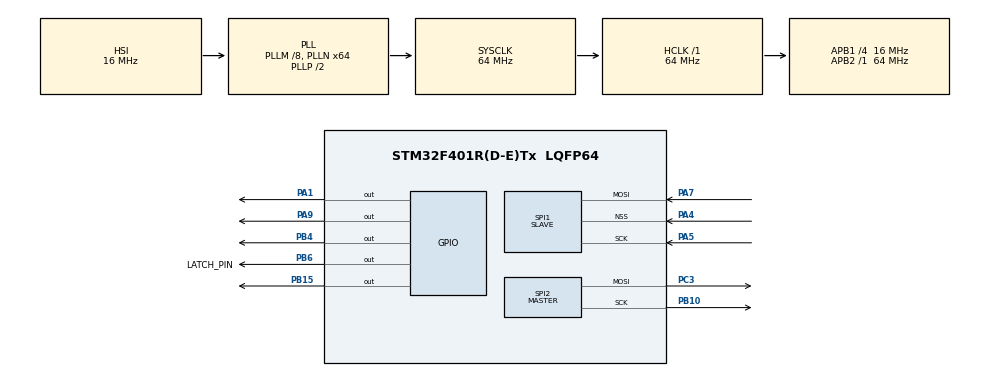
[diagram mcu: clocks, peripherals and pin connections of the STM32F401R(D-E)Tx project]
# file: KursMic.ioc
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Mcu.Family=STM32F4
PC3.Mode=TX_Only_Simplex_Unidirect_Master
PC15-OSC32_OUT.Mode=LSE-External-Oscillator
RCC.CortexFreq_Value=64000000
PA7.Mode=RX_Only_Simplex_Unidirect_Slave
SPI1.VirtualType=VM_SLAVE
SPI2.VirtualType=VM_MASTER
PB10.Mode=TX_Only_Simplex_Unidirect_Master
PA14.GPIO_Label=TCK
PH1\ -\ OSC_OUT.Mode=HSE-External-Clock-Source
PB6.GPIO_Label=LATCH_PIN
SPI1.CLKPhase=SPI_PHASE_1EDGE
RCC.APB1CLKDivider=RCC_HCLK_DIV4
SPI1.TIMode=SPI_TIMODE_DISABLE
PC14-OSC32_IN.Signal=RCC_OSC32_IN
PB15.Signal=GPIO_Output
RCC.SYSCLKSource=RCC_SYSCLKSOURCE_PLLCLK
ProjectManager.StackSize=0x400
PA13.Signal=SYS_JTMS-SWDIO
PH0\ -\ OSC_IN.Mode=HSE-External-Clock-Source
TIM1.Prescaler=839
SPI1.CLKPolarity=SPI_POLARITY_LOW
SPI2.CLKPolarity=SPI_POLARITY_LOW
PH0\ -\ OSC_IN.Signal=RCC_OSC_IN
PA4.Mode=NSS_Signal_Hard_Input
ProjectManager.TargetToolchain=STM32CubeIDE
SPI1.Direction=SPI_DIRECTION_2LINES_RXONLY
RCC.HCLKFreq_Value=64000000
RCC.APB2TimFreq_Value=64000000
PA9.Signal=GPIO_Output
PB6.Signal=GPIO_Output
PC3.Signal=SPI2_MOSI
PC15-OSC32_OUT.Signal=RCC_OSC32_OUT
PA1.Signal=GPIO_Output
RCC.AHBFreq_Value=64000000
PB10.Signal=SPI2_SCK
PA5.Signal=SPI1_SCK
RCC.HSE_VALUE=8000000
PH1\ -\ OSC_OUT.Signal=RCC_OSC_OUT
board=NUCLEO-F401RE
RCC.VCOOutputFreq_Value=128000000
RCC.APB2Freq_Value=64000000
PC14-OSC32_IN.Mode=LSE-External-Oscillator
SPI1.Mode=SPI_MODE_SLAVE
PA14.Mode=Serial_Wire
SPI1.DataSize=SPI_DATASIZE_16BIT
SPI1.VirtualNSS=VM_NSSHARD
PA13.Mode=Serial_Wire
Mcu.Name=STM32F401R(D-E)Tx
VP_TIM1_VS_ClockSourceINT.Mode=Internal
PA13.GPIO_Label=TMS
RCC.48MHZClocksFreq_Value=18285714.285714287
PB3.Signal=SYS_JTDO-SWO
PA4.Signal=SPI1_NSS
RCC.SYSCLKFreq_VALUE=64000000
Mcu.Package=LQFP64
SPI2.Mode=SPI_MODE_MASTER
SPI2.FirstBit=SPI_FIRSTBIT_LSB
PA14.Signal=SYS_JTCK-SWCLK
ProjectManager.HeapSize=0x200
RCC.HSI_VALUE=16000000
RCC.PLLQ=7
NVIC.PriorityGroup=NVIC_PRIORITYGROUP_0
RCC.PLLM=8
RCC.PLLN=64
RCC.APB1TimFreq_Value=32000000
SPI2.Direction=SPI_DIRECTION_2LINES
PB6.GPIO_Speed=GPIO_SPEED_FREQ_MEDIUM
RCC.APB1Freq_Value=16000000
PB4.Signal=GPIO_Output
PA5.Mode=RX_Only_Simplex_Unidirect_Slave
PA7.Signal=SPI1_MOSI
PB3.GPIO_Label=SWO

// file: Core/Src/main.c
/* USER CODE BEGIN Header */
/**
  ******************************************************************************
  * @file           : main.c
  * @brief          : Main program body
  ******************************************************************************
  * @attention
  *
  * <h2><center>&copy; Copyright (c) 2021 STMicroelectronics.
  * All rights reserved.</center></h2>
  *
  * This software component is licensed by ST under BSD 3-Clause license,
  * the "License"; You may not use this file except in compliance with the
  * License. You may obtain a copy of the License at:
  *                        opensource.org/licenses/BSD-3-Clause
  *
  ******************************************************************************
  */
/* USER CODE END Header */
#include "main.h"

/* USER CODE BEGIN PD */
#define LATCH GPIO_PIN_6

#define dig1_set() HAL_GPIO_WritePin(GPIOB, GPIO_PIN_4,GPIO_PIN_RESET)
#define dig2_set() HAL_GPIO_WritePin(GPIOB, GPIO_PIN_15,GPIO_PIN_RESET)
#define dig3_set() HAL_GPIO_WritePin(GPIOA, GPIO_PIN_1,GPIO_PIN_RESET)
#define dig4_set() HAL_GPIO_WritePin(GPIOA, GPIO_PIN_9,GPIO_PIN_RESET)

#define dig1_reset() HAL_GPIO_WritePin(GPIOB, GPIO_PIN_4,GPIO_PIN_SET)
#define dig2_reset() HAL_GPIO_WritePin(GPIOB, GPIO_PIN_15,GPIO_PIN_SET)
#define dig3_reset() HAL_GPIO_WritePin(GPIOA, GPIO_PIN_1,GPIO_PIN_SET)
#define dig4_reset() HAL_GPIO_WritePin(GPIOA, GPIO_PIN_9,GPIO_PIN_SET)
#define reset_all() dig1_reset();dig2_reset();dig3_reset();dig4_reset()

#define cs_set() HAL_GPIO_WritePin(GPIOB, LATCH,GPIO_PIN_RESET)
#define cs_reset() HAL_GPIO_WritePin(GPIOB, LATCH,GPIO_PIN_SET)
#define cs_strob() cs_reset();cs_set()
/* USER CODE END PD */

SPI_HandleTypeDef hspi1;
SPI_HandleTypeDef hspi2;

TIM_HandleTypeDef htim1;

/* USER CODE BEGIN PV */
const uint8_t digits[11] = {
		0xFC,
		0x60,
		0xDA,
		0xF2,
		0x66,
		0xB6,
		0xBE,
		0xE0,
		0xFE,
		0xF6,
		0x01
 };
volatile uint32_t seed = 0;
//volatile uint8_t dig = 1;
volatile uint8_t extiFlag = 0;
volatile uint8_t Button_State = 0;
volatile uint16_t Button_Count = 0;
volatile uint8_t Result=0;
volatile uint16_t receivedTemperature = 55;
volatile uint16_t digit = 4;
volatile uint16_t valueSPI=9999;
volatile uint8_t isHFlag = 0;
uint8_t rxBuffer = 0;

/* USER CODE END PV */

void SystemClock_Config(void);
static void MX_GPIO_Init(void);
static void MX_SPI2_Init(void);
static void MX_SPI1_Init(void);
static void MX_TIM1_Init(void);

int main(void)
{

  /* MCU Configuration--------------------------------------------------------*/

  /* Reset of all peripherals, Initializes the Flash interface and the Systick. */
  HAL_Init();

  /* Configure the system clock */
  SystemClock_Config();

  /* Initialize all configured peripherals */
  MX_GPIO_Init();
  MX_SPI2_Init();
  MX_SPI1_Init();
  MX_TIM1_Init();

  /* Infinite loop */
  /* USER CODE BEGIN WHILE */
  reset_all();
 // HAL_SPI_Receive(&hspi1, &receivedTemperature, 1, 1000);

  while (1)
  {

	  HAL_SPI_Receive(&hspi1, (uint8_t*)&receivedTemperature, 2, 2);

	  valueSPI =receivedTemperature;

	      uint8_t transmitData = 0;
	 	  uint16_t tempRand = valueSPI;
	 	  if (tempRand >= 0 && tempRand<=9) {
	 		  reset_all();
	 		  dig4_set();
	 		  transmitData = ~digits[tempRand];
	 		  HAL_SPI_Transmit(&hspi2, &transmitData, 1, 1000);
	 		  cs_strob();
	 		  HAL_Delay(1);
	 		  continue;
	 	  }
	 	  digit = 4;
	 	 while(tempRand) {
	 	 		  uint8_t r = tempRand % 10;
	 	 		  reset_all();
	 	 		  switch(digit) {
	 	 		  case 4:
	 	 			  dig4_set();
	 	 			  break;
	 	 		  case 3:
	 	 			  dig3_set();
	 	 			  break;
	 	 		  case 2:
	 	 			  dig2_set();
	 	 			  break;
	 	 		  case 1:
	 	 			  dig1_set();
	 	 			  break;
	 	 			  }
	 	 		  digit--;
	 	 		  tempRand /= 10;
	 	 		  transmitData = ~digits[r];
	 	 		  if (digit==2) {
	 	 			transmitData = transmitData + 0xFF;

	 	 		  }
	 	 		  HAL_SPI_Transmit(&hspi2, &transmitData, 1, 1000);
	 	 		  cs_strob();
	 	 		  HAL_Delay(2);
	 	 		  }

    /* USER CODE END WHILE */

  }
}

void SystemClock_Config(void)
{
  RCC_OscInitTypeDef RCC_OscInitStruct = {0};
  RCC_ClkInitTypeDef RCC_ClkInitStruct = {0};

  /** Configure the main internal regulator output voltage
  */
  __HAL_RCC_PWR_CLK_ENABLE();
  __HAL_PWR_VOLTAGESCALING_CONFIG(PWR_REGULATOR_VOLTAGE_SCALE2);
  /** Initializes the RCC Oscillators according to the specified parameters
  * in the RCC_OscInitTypeDef structure.
  */
  RCC_OscInitStruct.OscillatorType = RCC_OSCILLATORTYPE_HSI;
  RCC_OscInitStruct.HSIState = RCC_HSI_ON;
  RCC_OscInitStruct.HSICalibrationValue = RCC_HSICALIBRATION_DEFAULT;
  RCC_OscInitStruct.PLL.PLLState = RCC_PLL_ON;
  RCC_OscInitStruct.PLL.PLLSource = RCC_PLLSOURCE_HSI;
  RCC_OscInitStruct.PLL.PLLM = 8;
  RCC_OscInitStruct.PLL.PLLN = 64;
  RCC_OscInitStruct.PLL.PLLP = RCC_PLLP_DIV2;
  RCC_OscInitStruct.PLL.PLLQ = 7;
  if (HAL_RCC_OscConfig(&RCC_OscInitStruct) != HAL_OK)
  {
    Error_Handler();
  }
  /** Initializes the CPU, AHB and APB buses clocks
  */
  RCC_ClkInitStruct.ClockType = RCC_CLOCKTYPE_HCLK|RCC_CLOCKTYPE_SYSCLK
                              |RCC_CLOCKTYPE_PCLK1|RCC_CLOCKTYPE_PCLK2;
  RCC_ClkInitStruct.SYSCLKSource = RCC_SYSCLKSOURCE_PLLCLK;
  RCC_ClkInitStruct.AHBCLKDivider = RCC_SYSCLK_DIV1;
  RCC_ClkInitStruct.APB1CLKDivider = RCC_HCLK_DIV4;
  RCC_ClkInitStruct.APB2CLKDivider = RCC_HCLK_DIV1;

  if (HAL_RCC_ClockConfig(&RCC_ClkInitStruct, FLASH_LATENCY_2) != HAL_OK)
  {
    Error_Handler();
  }
}

static void MX_SPI1_Init(void)
{

  /* SPI1 parameter configuration*/
  hspi1.Instance = SPI1;
  hspi1.Init.Mode = SPI_MODE_SLAVE;
  hspi1.Init.Direction = SPI_DIRECTION_2LINES_RXONLY;
  hspi1.Init.DataSize = SPI_DATASIZE_16BIT;
  hspi1.Init.CLKPolarity = SPI_POLARITY_LOW;
  hspi1.Init.CLKPhase = SPI_PHASE_1EDGE;
  hspi1.Init.NSS = SPI_NSS_HARD_INPUT;
  hspi1.Init.FirstBit = SPI_FIRSTBIT_MSB;
  hspi1.Init.TIMode = SPI_TIMODE_DISABLE;
  hspi1.Init.CRCCalculation = SPI_CRCCALCULATION_DISABLE;
  hspi1.Init.CRCPolynomial = 10;
  if (HAL_SPI_Init(&hspi1) != HAL_OK)
  {
    Error_Handler();
  }

}

static void MX_SPI2_Init(void)
{

  /* SPI2 parameter configuration*/
  hspi2.Instance = SPI2;
  hspi2.Init.Mode = SPI_MODE_MASTER;
  hspi2.Init.Direction = SPI_DIRECTION_2LINES;
  hspi2.Init.DataSize = SPI_DATASIZE_8BIT;
  hspi2.Init.CLKPolarity = SPI_POLARITY_LOW;
  hspi2.Init.CLKPhase = SPI_PHASE_1EDGE;
  hspi2.Init.NSS = SPI_NSS_SOFT;
  hspi2.Init.BaudRatePrescaler = SPI_BAUDRATEPRESCALER_2;
  hspi2.Init.FirstBit = SPI_FIRSTBIT_LSB;
  hspi2.Init.TIMode = SPI_TIMODE_DISABLE;
  hspi2.Init.CRCCalculation = SPI_CRCCALCULATION_DISABLE;
  hspi2.Init.CRCPolynomial = 10;
  if (HAL_SPI_Init(&hspi2) != HAL_OK)
  {
    Error_Handler();
  }

}

static void MX_TIM1_Init(void)
{

  TIM_ClockConfigTypeDef sClockSourceConfig = {0};
  TIM_MasterConfigTypeDef sMasterConfig = {0};

  htim1.Instance = TIM1;
  htim1.Init.Prescaler = 839;
  htim1.Init.CounterMode = TIM_COUNTERMODE_UP;
  htim1.Init.Period = 65535;
  htim1.Init.ClockDivision = TIM_CLOCKDIVISION_DIV1;
  htim1.Init.RepetitionCounter = 0;
  htim1.Init.AutoReloadPreload = TIM_AUTORELOAD_PRELOAD_DISABLE;
  if (HAL_TIM_Base_Init(&htim1) != HAL_OK)
  {
    Error_Handler();
  }
  sClockSourceConfig.ClockSource = TIM_CLOCKSOURCE_INTERNAL;
  if (HAL_TIM_ConfigClockSource(&htim1, &sClockSourceConfig) != HAL_OK)
  {
    Error_Handler();
  }
  sMasterConfig.MasterOutputTrigger = TIM_TRGO_RESET;
  sMasterConfig.MasterSlaveMode = TIM_MASTERSLAVEMODE_DISABLE;
  if (HAL_TIMEx_MasterConfigSynchronization(&htim1, &sMasterConfig) != HAL_OK)
  {
    Error_Handler();
  }

}

static void MX_GPIO_Init(void)
{
  GPIO_InitTypeDef GPIO_InitStruct = {0};

  /* GPIO Ports Clock Enable */
  __HAL_RCC_GPIOC_CLK_ENABLE();
  __HAL_RCC_GPIOH_CLK_ENABLE();
  __HAL_RCC_GPIOA_CLK_ENABLE();
  __HAL_RCC_GPIOB_CLK_ENABLE();

  /*Configure GPIO pin Output Level */
  HAL_GPIO_WritePin(GPIOA, GPIO_PIN_1|GPIO_PIN_9, GPIO_PIN_RESET);

  /*Configure GPIO pin Output Level */
  HAL_GPIO_WritePin(GPIOB, GPIO_PIN_15|GPIO_PIN_4|LATCH_PIN_Pin, GPIO_PIN_RESET);

  /*Configure GPIO pins : PA1 PA9 */
  GPIO_InitStruct.Pin = GPIO_PIN_1|GPIO_PIN_9;
  GPIO_InitStruct.Mode = GPIO_MODE_OUTPUT_PP;
  GPIO_InitStruct.Pull = GPIO_NOPULL;
  GPIO_InitStruct.Speed = GPIO_SPEED_FREQ_LOW;
  HAL_GPIO_Init(GPIOA, &GPIO_InitStruct);

  /*Configure GPIO pins : PB15 PB4 */
  GPIO_InitStruct.Pin = GPIO_PIN_15|GPIO_PIN_4;
  GPIO_InitStruct.Mode = GPIO_MODE_OUTPUT_PP;
  GPIO_InitStruct.Pull = GPIO_NOPULL;
  GPIO_InitStruct.Speed = GPIO_SPEED_FREQ_LOW;
  HAL_GPIO_Init(GPIOB, &GPIO_InitStruct);

  /*Configure GPIO pin : LATCH_PIN_Pin */
  GPIO_InitStruct.Pin = LATCH_PIN_Pin;
  GPIO_InitStruct.Mode = GPIO_MODE_OUTPUT_PP;
  GPIO_InitStruct.Pull = GPIO_NOPULL;
  GPIO_InitStruct.Speed = GPIO_SPEED_FREQ_MEDIUM;
  HAL_GPIO_Init(LATCH_PIN_GPIO_Port, &GPIO_InitStruct);

}

void Error_Handler(void)
{
  __disable_irq();
  while (1)
  {
  }
}

/************************ (C) COPYRIGHT STMicroelectronics *****END OF FILE****/
